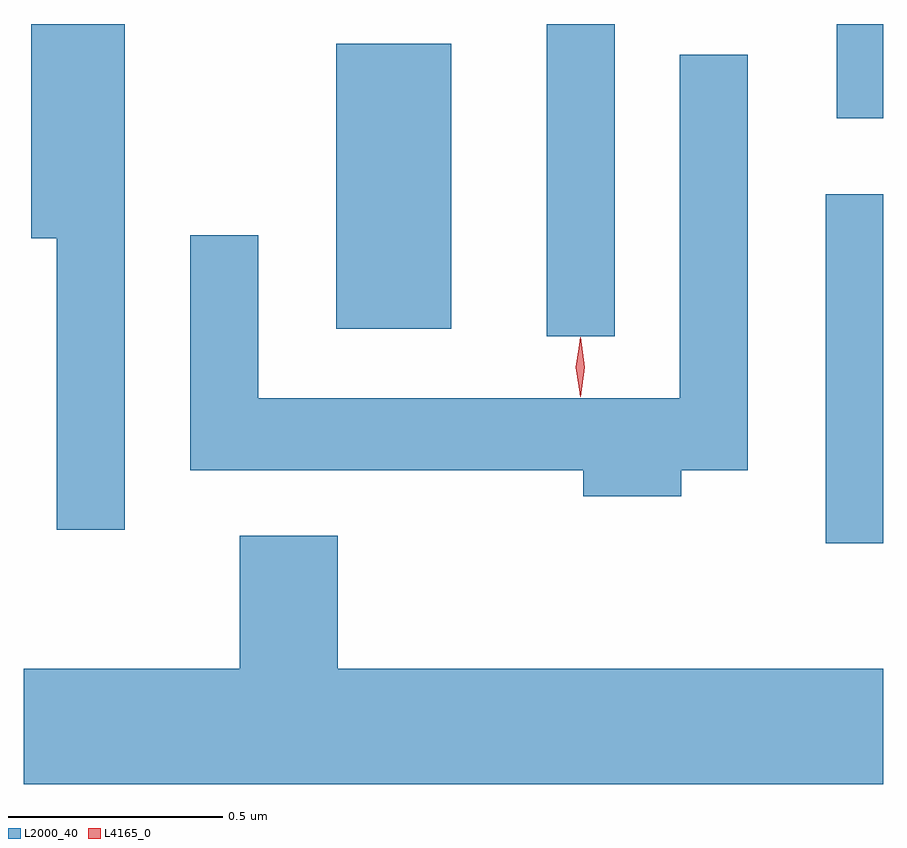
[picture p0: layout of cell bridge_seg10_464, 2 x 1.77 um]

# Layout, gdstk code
import gdstk
lib = gdstk.Library(unit=1e-6, precision=1e-09)
def R(c, l, rs):  # rectangles x0, y0, x1, y1
    for r in rs: c.add(gdstk.rectangle(r[:2], r[2:], *l))
def P(c, l, *ps):  # polygons
    for p in ps: c.add(gdstk.Polygon(p, *l))
L2000_40 = (2000, 40)
L4165_0 = (4165, 0)

bridge_seg10_464 = lib.new_cell('bridge_seg10_464')
R(bridge_seg10_464, L2000_40, [(1421.866,2138.896,1421.999,2139.709), (1421.216,2139.378,1421.374,2140.105), (1420.726,2139.396,1420.994,2140.059), (1421.891,2139.886,1421.999,2140.105)])
P(bridge_seg10_464, L2000_40, [(1420.234,2140.105),(1420.016,2140.105),(1420.016,2139.606),(1420.076,2139.606),(1420.076,2138.928),(1420.234,2138.928)],
  [(1421.529,2139.066),(1421.684,2139.066),(1421.684,2140.033),(1421.526,2140.033),(1421.526,2139.234),(1420.544,2139.234),(1420.544,2139.613),(1420.386,2139.613),(1420.386,2139.066),(1421.301,2139.066),(1421.301,2139.006),(1421.529,2139.006)],
  [(1421.999,2138.604),(1420.729,2138.604),(1420.729,2138.914),(1420.501,2138.914),(1420.501,2138.604),(1419.999,2138.604),(1419.999,2138.336),(1421.999,2138.336)])
P(bridge_seg10_464, L4165_0, [(1421.294,2139.237),(1421.285,2139.306),(1421.294,2139.376),(1421.295,2139.376),(1421.295,2139.376),(1421.305,2139.306),(1421.295,2139.237),(1421.295,2139.237)],
  [(1421.294,2139.239),(1421.294,2139.24),(1421.284,2139.306),(1421.294,2139.372),(1421.294,2139.373),(1421.295,2139.372),(1421.304,2139.306),(1421.295,2139.24)])

lib.write_gds('bridge_seg10_464.gds')
